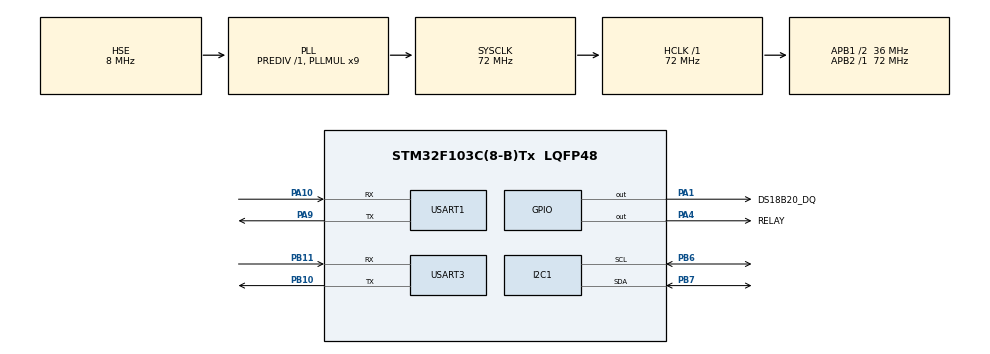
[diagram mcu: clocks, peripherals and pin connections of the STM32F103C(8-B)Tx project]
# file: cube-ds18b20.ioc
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I2C1.I2C_Mode=I2C_Fast
Mcu.Family=STM32F1
Mcu.Name=STM32F103C(8-B)Tx
Mcu.Package=LQFP48
NVIC.PriorityGroup=NVIC_PRIORITYGROUP_4
NVIC.USART3_IRQn=true\:0\:0\:false\:false\:true\:true\:true\:true
PA1.GPIO_Label=DS18B20_DQ
PA1.GPIO_PuPd=GPIO_PULLUP
PA1.Signal=GPIO_Output
PA10.Mode=Asynchronous
PA10.Signal=USART1_RX
PA4.GPIO_Label=RELAY
PA4.Signal=GPIO_Output
PA9.Mode=Asynchronous
PA9.Signal=USART1_TX
PB10.Mode=Asynchronous
PB10.Signal=USART3_TX
PB11.Mode=Asynchronous
PB11.Signal=USART3_RX
PB6.Mode=I2C
PB6.Signal=I2C1_SCL
PB7.Mode=I2C
PB7.Signal=I2C1_SDA
PD0-OSC_IN.Mode=HSE-External-Oscillator
PD0-OSC_IN.Signal=RCC_OSC_IN
PD1-OSC_OUT.Mode=HSE-External-Oscillator
PD1-OSC_OUT.Signal=RCC_OSC_OUT
ProjectManager.HeapSize=0x200
ProjectManager.StackSize=0x400
ProjectManager.TargetToolchain=MDK-ARM V5.32
RCC.AHBFreq_Value=72000000
RCC.APB1CLKDivider=RCC_HCLK_DIV2
RCC.APB1Freq_Value=36000000
RCC.APB1TimFreq_Value=72000000
RCC.APB2Freq_Value=72000000
RCC.APB2TimFreq_Value=72000000
RCC.HCLKFreq_Value=72000000
RCC.PLLMUL=RCC_PLL_MUL9
RCC.PLLSourceVirtual=RCC_PLLSOURCE_HSE
RCC.SYSCLKFreq_VALUE=72000000
RCC.SYSCLKSource=RCC_SYSCLKSOURCE_PLLCLK
RCC.USBFreq_Value=72000000
USART1.VirtualMode=VM_ASYNC
USART3.VirtualMode=VM_ASYNC
VP_SYS_VS_ND.Mode=No_Debug
board=custom

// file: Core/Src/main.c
/* USER CODE BEGIN Header */
/**
 ******************************************************************************
 * @file           : main.c
 * @brief          : Main program body
 ******************************************************************************
 * @attention
 *
 * Copyright (c) 2025 STMicroelectronics.
 * All rights reserved.
 *
 * This software is licensed under terms that can be found in the LICENSE file
 * in the root directory of this software component.
 * If no LICENSE file comes with this software, it is provided AS-IS.
 *
 ******************************************************************************
 */
/* USER CODE END Header */
#include "main.h"
#include "i2c.h"
#include "usart.h"
#include "gpio.h"

/* USER CODE BEGIN Includes */
#include <string.h>
#include <stdio.h>
#include "oled.h"

#define DS18B20_PORT GPIOA
#define DS18B20_PIN GPIO_PIN_1

#define RELAY_Pin GPIO_PIN_4
#define RELAY_GPIO_Port GPIOA
#define MAX_DS18B20_SENSORS 5
/* USER CODE END Includes */

/* USER CODE BEGIN PV */
// --- 新增：存储传感器ROM地址和数量 ---
uint8_t g_ds18b20_roms[MAX_DS18B20_SENSORS][8];
uint8_t g_num_sensors = 0;
// --- 新增：1-Wire搜索状态变量 ---
uint8_t LastDiscrepancy;
uint8_t LastFamilyDiscrepancy;
uint8_t LastDeviceFlag;
float temperatureArray[3]; // 用于存储温度值

// --- 新增：串口3接收和继电器定时控制相关变量 ---
#define UART3_RX_BUFFER_SIZE 50
uint8_t uart3_rx_buffer[UART3_RX_BUFFER_SIZE];
uint8_t uart3_rx_index = 0;
uint8_t uart3_rx_complete = 0;
uint8_t uart3_current_char; // 当前接收的字符
uint32_t relay_timer_count = 0;  // 继电器定时器计数
uint8_t relay_timer_active = 0;  // 继电器定时器是否激活
uint8_t relay_force_state = 0;   // 强制继电器状态（0=关闭，1=开启）
uint8_t relay_temp_control = 1;  // 温度控制是否启用（1=启用，0=禁用）

// --- 新增：温度阈值变量（可调） ---
float temp_threshold = 30.0f; // 默认温度阈值
#define TEMP_THRESHOLD_MIN  0.0f
#define TEMP_THRESHOLD_MAX  99.0f
#define TEMP_THRESHOLD_STEP 1.0f

// 按键防抖相关变量
uint8_t key_pa2_last = 1, key_pa3_last = 1;
uint32_t key_debounce_tick_pa2 = 0, key_debounce_tick_pa3 = 0;
#define KEY_DEBOUNCE_MS 30
/* USER CODE END PV */

void SystemClock_Config(void);

/* USER CODE BEGIN 0 */
/* USER CODE BEGIN 0 */

// 初始化继电器控制引脚
void RELAY_Init(void)
{
  HAL_GPIO_WritePin(RELAY_GPIO_Port, RELAY_Pin, GPIO_PIN_RESET);
}

// 控制继电器状态
void RELAY_Control(uint8_t state)
{
  HAL_GPIO_WritePin(RELAY_GPIO_Port, RELAY_Pin, state ? GPIO_PIN_SET : GPIO_PIN_RESET);
}

// 微秒级延时函数 (保持不变)
void Delay_us(uint16_t us)
{
  us *= 6;
  while (us--)
  {
    __NOP();
    __NOP();
    __NOP();
    __NOP();
    __NOP();
    __NOP();
    __NOP();
    __NOP();
  }
}

// 写1位数据 (保持不变)
void DS18B20_WriteBit(uint8_t bit)
{
  HAL_GPIO_WritePin(DS18B20_PORT, DS18B20_PIN, GPIO_PIN_RESET);
  Delay_us(1); // t_low1: 1-15us
  if (bit)
  {
    HAL_GPIO_WritePin(DS18B20_PORT, DS18B20_PIN, GPIO_PIN_SET); // 写1
  }
  else
  {
    // 保持低电平即可写0
  }
  Delay_us(60);                                               // t_slot: 60-120us
  HAL_GPIO_WritePin(DS18B20_PORT, DS18B20_PIN, GPIO_PIN_SET); // 释放总线
  Delay_us(1);                                                // t_rec: >1us
}

// 读1位数据 (保持不变)
uint8_t DS18B20_ReadBit(void)
{
  uint8_t bit = 0;
  HAL_GPIO_WritePin(DS18B20_PORT, DS18B20_PIN, GPIO_PIN_RESET);
  Delay_us(1);                                                // t_low0: 1-15us
  HAL_GPIO_WritePin(DS18B20_PORT, DS18B20_PIN, GPIO_PIN_SET); // 释放总线，由从机拉低或保持高电平
  Delay_us(10);                                               // t_rdv: <15us (在15us内采样)
  if (HAL_GPIO_ReadPin(DS18B20_PORT, DS18B20_PIN))
  {
    bit = 1;
  }
  Delay_us(50); // 等待时间片结束 (60-120us)
  return bit;
}

// 向DS18B20写入1字节 (保持不变)
void DS18B20_WriteByte(uint8_t data)
{
  for (uint8_t i = 0; i < 8; i++)
  {
    DS18B20_WriteBit(data & 0x01);
    data >>= 1;
  }
}

// 从DS18B20读取1字节 (保持不变)
uint8_t DS18B20_ReadByte(void)
{
  uint8_t data = 0;
  for (uint8_t i = 0; i < 8; i++)
  {
    data >>= 1;
    if (DS18B20_ReadBit())
    {
      data |= 0x80;
    }
  }
  return data;
}

// 复位DS18B20 (保持不变)
// 返回 0 表示成功检测到存在脉冲, 1 表示无设备响应
uint8_t DS18B20_Reset(void)
{
  uint8_t status;
  // 配置为推挽输出
  GPIO_InitTypeDef GPIO_InitStruct = {0};
  GPIO_InitStruct.Pin = DS18B20_PIN;
  GPIO_InitStruct.Mode = GPIO_MODE_OUTPUT_PP;
  GPIO_InitStruct.Pull = GPIO_NOPULL;
  GPIO_InitStruct.Speed = GPIO_SPEED_FREQ_HIGH;
  HAL_GPIO_Init(DS18B20_PORT, &GPIO_InitStruct);

  HAL_GPIO_WritePin(DS18B20_PORT, DS18B20_PIN, GPIO_PIN_RESET);
  Delay_us(480); // 至少480us
  HAL_GPIO_WritePin(DS18B20_PORT, DS18B20_PIN, GPIO_PIN_SET);

  // 配置为浮空输入
  GPIO_InitStruct.Mode = GPIO_MODE_INPUT;
  GPIO_InitStruct.Pull = GPIO_NOPULL; // 或 GPIO_PULLUP，取决于外部上拉
  HAL_GPIO_Init(DS18B20_PORT, &GPIO_InitStruct);

  Delay_us(60);                                         // 等待15-60us后采样
  status = HAL_GPIO_ReadPin(DS18B20_PORT, DS18B20_PIN); // 读取存在脉冲 (低电平有效)
  Delay_us(420);                                        // 等待存在脉冲结束 (总共480us)

  // 恢复为推挽输出，准备后续通信
  GPIO_InitStruct.Mode = GPIO_MODE_OUTPUT_PP;
  GPIO_InitStruct.Pull = GPIO_NOPULL;
  GPIO_InitStruct.Speed = GPIO_SPEED_FREQ_HIGH;
  HAL_GPIO_Init(DS18B20_PORT, &GPIO_InitStruct);
  HAL_GPIO_WritePin(DS18B20_PORT, DS18B20_PIN, GPIO_PIN_SET); // 释放总线

  return status; // 0=成功, 1=失败
}

// --- 新增：CRC8校验函数 ---
uint8_t crc8(const uint8_t *addr, uint8_t len)
{
  uint8_t crc = 0;
  while (len--)
  {
    uint8_t inbyte = *addr++;
    for (uint8_t i = 8; i; i--)
    {
      uint8_t mix = (crc ^ inbyte) & 0x01;
      crc >>= 1;
      if (mix)
        crc ^= 0x8C; // 校验多项式 X^8 + X^5 + X^4 + 1
      inbyte >>= 1;
    }
  }
  return crc;
}

// --- 新增：1-Wire ROM搜索核心函数 ---
// 返回值: 1 = 找到设备, 0 = 未找到/搜索完成
// rom_code: 用于存储找到的ROM地址
uint8_t DS18B20_Search(uint8_t *rom_code)
{
  uint8_t id_bit_number;
  uint8_t last_zero, rom_byte_number;
  uint8_t search_result;
  uint8_t id_bit, cmp_id_bit;
  uint8_t rom_byte_mask, search_direction;

  // 初始化搜索状态 (仅在首次搜索时)
  id_bit_number = 1;
  last_zero = 0;
  rom_byte_number = 0;
  rom_byte_mask = 1;
  search_result = 0;

  // 如果上一次搜索是最后一次，则重置状态开始新的搜索
  if (LastDeviceFlag)
  {
    LastDiscrepancy = 0;
    LastDeviceFlag = 0;
    LastFamilyDiscrepancy = 0;
    return 0; // 没有更多设备
  }

  // 1. 发送复位脉冲
  if (DS18B20_Reset() != 0)
  {
    // 总线无响应，重置搜索状态并返回错误
    LastDiscrepancy = 0;
    LastFamilyDiscrepancy = 0;
    LastDeviceFlag = 0;
    return 0;
  }

  // 2. 发送 ROM 搜索命令 (0xF0)
  DS18B20_WriteByte(0xF0);

  // 3. 循环搜索 ROM 的每一位 (64位)
  do
  {
    // 读取两位 (bit 和 complement bit)
    id_bit = DS18B20_ReadBit();
    cmp_id_bit = DS18B20_ReadBit();

    // 检查冲突
    if ((id_bit == 1) && (cmp_id_bit == 1))
    {
      // 没有设备响应此位，搜索失败
      break;
    }
    else
    {
      // 设备响应了
      if (id_bit != cmp_id_bit)
      {
        // 所有设备在这一位上值相同，直接选择该位
        search_direction = id_bit;
      }
      else
      {
        // 出现分歧 (Discrepancy)，即至少两个设备在这一位有不同值 (0和1)
        // 如果当前位 < 上次分歧位，选择上次确定的路径
        if (id_bit_number < LastDiscrepancy)
        {
          search_direction = ((rom_code[rom_byte_number] & rom_byte_mask) > 0);
        }
        else
        {
          // 如果等于上次分歧位，选择1路径
          // 如果大于上次分歧位，选择0路径 (优先探索0分支)
          search_direction = (id_bit_number == LastDiscrepancy);
        }

        // 如果选择0路径，记录下这个分歧点
        if (search_direction == 0)
        {
          last_zero = id_bit_number;
          // 如果是家族码内的分歧，也记录
          if (last_zero < 9)
            LastFamilyDiscrepancy = last_zero;
        }
      }

      // 存储选择的位到 ROM code 中
      if (search_direction == 1)
        rom_code[rom_byte_number] |= rom_byte_mask;
      else
        rom_code[rom_byte_number] &= ~rom_byte_mask;

      // 发送选择的位，让不匹配的设备进入休眠
      DS18B20_WriteBit(search_direction);

      // 移到下一位
      id_bit_number++;
      rom_byte_mask <<= 1;

      // 如果一个字节的8位都处理完了，移到下一个字节
      if (rom_byte_mask == 0)
      {
        rom_byte_number++;
        rom_byte_mask = 1;
      }
    }
  } while (rom_byte_number < 8); // 处理完8个字节 (64位)

  // 4. 检查搜索结果
  if (id_bit_number >= 65)
  { // 成功完成64位搜索
    // 更新下次搜索的分歧点
    LastDiscrepancy = last_zero;

    // 检查是否是最后一个设备
    if (LastDiscrepancy == 0)
    {
      LastDeviceFlag = 1; // 本次是最后一个设备
    }
    search_result = 1; // 成功找到一个设备
  }

  // 如果搜索失败或CRC校验失败，重置状态
  if (search_result == 0 || rom_code[0] == 0x00 || crc8(rom_code, 7) != rom_code[7])
  {
    LastDiscrepancy = 0;
    LastDeviceFlag = 0;
    LastFamilyDiscrepancy = 0;
    search_result = 0; // 标记为失败
  }

  return search_result;
}

// --- 新增：扫描总线上的所有DS18B20设备 ---
void DS18B20_ScanDevices(void)
{
  uint8_t id[8];
  g_num_sensors = 0; // 重置计数器

  // 重置搜索状态
  LastDiscrepancy = 0;
  LastDeviceFlag = 0;
  LastFamilyDiscrepancy = 0;

  // 循环搜索，直到找不到更多设备
  while (DS18B20_Search(id) && g_num_sensors < MAX_DS18B20_SENSORS)
  {
    // 检查是否是DS18B20家族码 (0x28)
    if (id[0] == 0x28)
    {
      // 检查CRC校验
      if (crc8(id, 7) == id[7])
      {
        memcpy(g_ds18b20_roms[g_num_sensors], id, 8);
        g_num_sensors++;
      }
    }
    // 如果需要支持其他家族码，可以在这里添加判断
  }
  // 可以在这里通过串口打印找到的传感器数量和ROM地址，用于调试
  char dbg_msg[100];
  sprintf(dbg_msg, "Found %d DS18B20 sensors.\r\n", g_num_sensors);
  HAL_UART_Transmit(&huart3, (uint8_t *)dbg_msg, strlen(dbg_msg), 100);
  for (int i = 0; i < g_num_sensors; i++)
  {
    sprintf(dbg_msg, "Sensor %d ROM: %02X%02X%02X%02X%02X%02X%02X%02X\r\n", i,
            g_ds18b20_roms[i][7], g_ds18b20_roms[i][6], g_ds18b20_roms[i][5], g_ds18b20_roms[i][4],
            g_ds18b20_roms[i][3], g_ds18b20_roms[i][2], g_ds18b20_roms[i][1], g_ds18b20_roms[i][0]);
    HAL_UART_Transmit(&huart3, (uint8_t *)dbg_msg, strlen(dbg_msg), 200);
    HAL_Delay(10); // 短暂延时避免串口发送过快
  }
}

// --- 新增：选择指定ROM地址的设备 ---
void DS18B20_Select(const uint8_t *rom_code)
{
  DS18B20_WriteByte(0x55); // Match ROM command
  for (uint8_t i = 0; i < 8; i++)
  {
    DS18B20_WriteByte(rom_code[i]);
  }
}

// --- 新增：向总线上所有设备发送命令 (使用 Skip ROM) ---
void DS18B20_SkipRom(void)
{
  DS18B20_WriteByte(0xCC); // Skip ROM command
}

// --- 修改：读取指定ROM地址的温度值 ---
// 返回值：读取到的温度，或特定错误值 (例如 -999.0)
float DS18B20_GetTemp(const uint8_t *rom_code)
{
  uint8_t tempL, tempH;
  uint16_t temp;
  float result = -999.0; // 默认错误值

  // 1. 复位并选择指定设备
  if (DS18B20_Reset() != 0)
    return result; // 复位失败
  DS18B20_Select(rom_code);

  // 2. 发送读取暂存器命令 (0xBE)
  DS18B20_WriteByte(0xBE);

  // 3. 读取暂存器内容 (前两个字节是温度)
  //    注意：实际应用中应读取全部9个字节并校验CRC
  tempL = DS18B20_ReadByte();
  tempH = DS18B20_ReadByte();
  // 读取剩余字节（可选，用于CRC校验）
  // uint8_t scratchpad[9];
  // scratchpad[0] = tempL;
  // scratchpad[1] = tempH;
  // for(int i=2; i<9; i++) {
  //     scratchpad[i] = DS18B20_ReadByte();
  // }
  // if (crc8(scratchpad, 8) != scratchpad[8]) {
  //     // CRC校验失败
  //     return -998.0; // 返回不同的错误码
  // }

  // 4. 计算温度
  temp = (tempH << 8) | tempL;

  // 处理负温度 (符号扩展)
  if (temp & 0x8000)
  {
    temp = ~temp + 1; // 取反加一
    result = -(float)temp / 16.0;
  }
  else
  {
    result = (float)temp / 16.0;
  }

  // 检查温度是否在合理范围 (DS18B20范围 -55 到 +125)
  // 85度是上电默认值，可能表示读取错误
  if (result == 85.0 || result < -55.0 || result > 125.0)
  {
    // 可能读取错误，可以返回特定错误值或上次有效值
    // return -997.0;
  }

  return result;
}

// 启动所有连接设备的温度转换 ---
uint8_t DS18B20_StartConversionAll(void)
{
  if (DS18B20_Reset() != 0)
    return 1;              // 复位失败
  DS18B20_SkipRom();       // 使用 Skip ROM 命令
  DS18B20_WriteByte(0x44); // 启动温度转换命令
  return 0;                // 成功启动
}

// --- 新增：串口3接收中断回调函数 ---
void HAL_UART_RxCpltCallback(UART_HandleTypeDef *huart)
{
  if (huart->Instance == USART3)
  {
    // 检查是否接收到换行符或回车符
    if (uart3_current_char == '\n' || uart3_current_char == '\r')
    {
      uart3_rx_buffer[uart3_rx_index] = '\0'; // 添加字符串结束符
      uart3_rx_complete = 1; // 标记接收完成
      uart3_rx_index = 0;    // 重置索引
    }
    else if (uart3_rx_index >= UART3_RX_BUFFER_SIZE - 2) // 留一个位置给\0
    {
      uart3_rx_buffer[uart3_rx_index] = '\0'; // 添加字符串结束符
      uart3_rx_complete = 1; // 标记接收完成
      uart3_rx_index = 0;    // 重置索引
    }
    else
    {
      // 存储接收到的字符
      uart3_rx_buffer[uart3_rx_index] = uart3_current_char;
      uart3_rx_index++; // 移动到下一个位置
    }

    // 重新启动接收中断，继续接收下一个字符
    HAL_UART_Receive_IT(&huart3, &uart3_current_char, 1);
  }
}

// --- 新增：解析串口命令 ---
void Parse_UART3_Command(void)
{
  if (!uart3_rx_complete) return;

  char *command = (char *)uart3_rx_buffer;
  char response[100];

  // 添加详细调试信息 - 显示缓冲区内容
  sprintf(response, "RX Complete! Buffer: [");
  HAL_UART_Transmit(&huart3, (uint8_t *)response, strlen(response), 200);

  for (int i = 0; i < uart3_rx_index; i++) {
    sprintf(response, "%02X ", uart3_rx_buffer[i]);
    HAL_UART_Transmit(&huart3, (uint8_t *)response, strlen(response), 200);
  }

  sprintf(response, "] String: [%s] (len=%d, index=%d)\r\n", command, strlen(command), uart3_rx_index);
  HAL_UART_Transmit(&huart3, (uint8_t *)response, strlen(response), 200);

  // 解析 "on" 命令
  if (strncmp(command, "on", 2) == 0)
  {
    uint32_t duration = atoi(command + 2); // 提取数字部分
    sprintf(response, "Parsed duration: %lu\r\n", duration);
    HAL_UART_Transmit(&huart3, (uint8_t *)response, strlen(response), 200);

    if (duration > 0 && duration <= 9999) // 限制最大时间
    {
      relay_timer_count = duration;
      relay_timer_active = 1;
      relay_force_state = 1;
      relay_temp_control = 0; // 禁用温度控制
      RELAY_Control(1);       // 立即打开继电器

      sprintf(response, "Relay ON for %lu seconds\r\n", duration);
      HAL_UART_Transmit(&huart3, (uint8_t *)response, strlen(response), 200);
    }
    else
    {
      sprintf(response, "Invalid duration: %s (parsed: %lu)\r\n", command, duration);
      HAL_UART_Transmit(&huart3, (uint8_t *)response, strlen(response), 200);
    }
  }
  // 解析 "off" 命令
  else if (strncmp(command, "off", 3) == 0)
  {
    uint32_t duration = atoi(command + 3); // 提取数字部分
    if (duration > 0 && duration <= 9999) // 限制最大时间
    {
      relay_timer_count = duration;
      relay_timer_active = 1;
      relay_force_state = 0;
      relay_temp_control = 0; // 禁用温度控制
      RELAY_Control(0);       // 立即关闭继电器

      sprintf(response, "Relay OFF for %lu seconds\r\n", duration);
      HAL_UART_Transmit(&huart3, (uint8_t *)response, strlen(response), 200);
    }
    else
    {
      sprintf(response, "Invalid duration: %s\r\n", command);
      HAL_UART_Transmit(&huart3, (uint8_t *)response, strlen(response), 200);
    }
  }
  // 解析 "auto" 命令 - 恢复温度控制
  else if (strncmp(command, "auto", 4) == 0)
  {
    relay_timer_active = 0;
    relay_temp_control = 1; // 重新启用温度控制
    sprintf(response, "Auto temperature control enabled\r\n");
    HAL_UART_Transmit(&huart3, (uint8_t *)response, strlen(response), 200);
  }
  else
  {
    sprintf(response, "Unknown command: %s\r\n", command);
    HAL_UART_Transmit(&huart3, (uint8_t *)response, strlen(response), 200);
  }

  uart3_rx_complete = 0; // 重置完成标志
}

// --- 新增：更新继电器定时器 ---
void Update_Relay_Timer(void)
{
  if (relay_timer_active && relay_timer_count > 0)
  {
    relay_timer_count--;

    // 定时器到期
    if (relay_timer_count == 0)
    {
      relay_timer_active = 0;
      relay_temp_control = 1; // 重新启用温度控制

      char response[50];
      sprintf(response, "Timer expired, auto control enabled\r\n");
      HAL_UART_Transmit(&huart3, (uint8_t *)response, strlen(response), 200);
    }
  }
}

/* USER CODE END 0 */

int main(void)
{

  /* USER CODE BEGIN 1 */
  char msg[100]; // 增加缓冲区大小以容纳ROM地址
  char msg2[100]; // lora发送信息
  char relay_msg[50]; // 继电器控制信息
  float temperature;
  /* USER CODE END 1 */

  /* MCU Configuration--------------------------------------------------------*/

  /* Reset of all peripherals, Initializes the Flash interface and the Systick. */
  HAL_Init();

  /* Configure the system clock */
  SystemClock_Config();

  /* Initialize all configured peripherals */
  MX_GPIO_Init();
  MX_USART1_UART_Init();
  MX_USART3_UART_Init();
  MX_I2C1_Init();
  /* USER CODE BEGIN 2 */  RELAY_Init();
  OLED_Init();  // 初始化OLED

  // --- 新增：初始化PA2/PA3为输入上拉 ---
  GPIO_InitTypeDef GPIO_InitStruct = {0};
  GPIO_InitStruct.Pin = GPIO_PIN_2|GPIO_PIN_3;
  GPIO_InitStruct.Mode = GPIO_MODE_INPUT;
  GPIO_InitStruct.Pull = GPIO_PULLUP;
  HAL_GPIO_Init(GPIOA, &GPIO_InitStruct);

  HAL_Delay(100); // 等待总线稳定

  // 启动串口3接收中断
  HAL_UART_Receive_IT(&huart3, &uart3_current_char, 1);

  // 在OLED上显示欢迎信息
  OLED_ShowString(0, 0, "DS18B20 Temperature", 8);
  OLED_ShowString(0, 16, "System Initializing", 8);
  OLED_Refresh();
    HAL_Delay(1000); // 显示欢迎信息一段时间
  HAL_UART_Transmit(&huart1, (uint8_t *)"DS18B20 Multi-Sensor Test\r\n", strlen("DS18B20 Multi-Sensor Test\r\n"), 100);

  // --- 修改：扫描设备 ---
  DS18B20_ScanDevices();

    // 在OLED上显示传感器信息
  OLED_DisplaySensorInfo(g_num_sensors);
  HAL_Delay(2000);
  OLED_Clear(); // 清屏

  if (g_num_sensors == 0)
  {
    HAL_UART_Transmit(&huart1, (uint8_t *)"No DS18B20 sensors found!\r\n", strlen("No DS18B20 sensors found!\r\n"), 100);
    while (1)
      ; // 没有传感器则停止
  }
  // char msg[50];
  // float temperature;
  /* USER CODE END 2 */

  /* Infinite loop */
  /* USER CODE BEGIN WHILE */
  uint32_t last_task_tick = 0;
  while (1)
  {
    /* USER CODE END WHILE */

    /* USER CODE BEGIN 3 */
    // 处理串口3接收到的命令
    Parse_UART3_Command();

    // 更新继电器定时器（每秒调用一次）
    static uint32_t last_timer_update = 0;
    if (HAL_GetTick() - last_timer_update >= 1000) // 每1000ms更新一次
    {
      Update_Relay_Timer();
      last_timer_update = HAL_GetTick();
    }

    // --- 非阻塞定时任务：每2秒采集温度和控制继电器 ---
    if (HAL_GetTick() - last_task_tick >= 2000) {
      last_task_tick = HAL_GetTick();
      // 1. 启动所有传感器的温度转换
      if (DS18B20_StartConversionAll() == 0)
      {
        HAL_Delay(750); // 等待转换完成（可进一步优化为非阻塞）
        // 3. 依次读取每个传感器的温度
        for (uint8_t i = 0; i < g_num_sensors; i++)
        {
          float temperature = DS18B20_GetTemp(g_ds18b20_roms[i]);
          temperatureArray[i] = temperature;
        }
        // 检查温度并控制继电器（仅在温度控制启用时）
        uint8_t relay_status = 0;
        if (relay_temp_control)
        {
          for (uint8_t i = 0; i < g_num_sensors; i++)
          {
              if(temperatureArray[i] > temp_threshold)
              {
                RELAY_Control(1); // 温度超过阈值，打开继电器
                sprintf(relay_msg, "ON");
                relay_status = 1;
                break;
              }
          }
          if (!relay_status) {
            RELAY_Control(0); // 温度均低于阈值，关闭继电器
            sprintf(relay_msg, "OFF");
          }
        }
        else
        {
          relay_status = relay_force_state;
          sprintf(relay_msg, relay_status ? "ON" : "OFF");
        }
        // OLED显示温度和继电器状态，显示当前阈值
        OLED_DisplayTemperature(
            temperatureArray[0],
            (g_num_sensors > 1) ? temperatureArray[1] : -999.0,
            (g_num_sensors > 2) ? temperatureArray[2] : -999.0,
            relay_status,
            temp_threshold
        );
        // 格式化并发送到Lora
        strcpy(msg2, "");
        for (uint8_t i = 0; i < 3; i++)
        {
            char temp_msg[50];
            sprintf(temp_msg, "%.2f;", temperatureArray[i]);
            strcat(msg2, temp_msg);
        }
        strcat(msg2, relay_msg); // 继电器状态
        strcat(msg2, ";\r\n");
        HAL_UART_Transmit(&huart3, (uint8_t *)msg2, strlen(msg2), 200); // 发送到Lora
      }
      else
      {
        sprintf(msg, "Failed to start conversion.\r\n");
        HAL_UART_Transmit(&huart1, (uint8_t *)msg, strlen(msg), 100);
      }
    }

    // --- 按键扫描与阈值调节（实时） ---
    uint8_t key_pa2 = HAL_GPIO_ReadPin(GPIOA, GPIO_PIN_2);
    uint8_t key_pa3 = HAL_GPIO_ReadPin(GPIOA, GPIO_PIN_3);
    uint32_t now = HAL_GetTick();
    // PA2: 阈值减1
    if (key_pa2 == 0 && key_pa2_last == 1 && (now - key_debounce_tick_pa2 > KEY_DEBOUNCE_MS)) {
      key_debounce_tick_pa2 = now;
      if (temp_threshold > TEMP_THRESHOLD_MIN) {
        temp_threshold -= TEMP_THRESHOLD_STEP;
        if (temp_threshold < TEMP_THRESHOLD_MIN) temp_threshold = TEMP_THRESHOLD_MIN;
        // 不再单独刷新OLED，统一在主定时任务里刷新
        // OLED_ShowString(0, 48, "Threshold-", 8);
        // OLED_ShowNum(80, 48, (int)temp_threshold, 2, 8);
        // OLED_Refresh();
        HAL_Delay(200); // 简单消抖
      }
    }
    key_pa2_last = key_pa2;
    // PA3: 阈值加1
    if (key_pa3 == 0 && key_pa3_last == 1 && (now - key_debounce_tick_pa3 > KEY_DEBOUNCE_MS)) {
      key_debounce_tick_pa3 = now;
      if (temp_threshold < TEMP_THRESHOLD_MAX) {
        temp_threshold += TEMP_THRESHOLD_STEP;
        if (temp_threshold > TEMP_THRESHOLD_MAX) temp_threshold = TEMP_THRESHOLD_MAX;
        // 不再单独刷新OLED，统一在主定时任务里刷新
        // OLED_ShowString(0, 48, "Threshold+", 8);
        // OLED_ShowNum(80, 48, (int)temp_threshold, 2, 8);
        // OLED_Refresh();
        HAL_Delay(200); // 简单消抖
      }
    }
    key_pa3_last = key_pa3;

    // 检查温度并控制继电器（仅在温度控制启用时）
    uint8_t relay_status = 0;
    if (relay_temp_control)
    {
      for (uint8_t i = 0; i < g_num_sensors; i++)
      {
          if(temperatureArray[i] > temp_threshold)
          {
            RELAY_Control(1); // 温度超过阈值，打开继电器
            sprintf(relay_msg, "ON");
            relay_status = 1;
            break;
          }
      }
      if (!relay_status) {
        RELAY_Control(0); // 温度均低于阈值，关闭继电器
        sprintf(relay_msg, "OFF");
      }
    }
    else
    {
      // 使用强制状态
      relay_status = relay_force_state;
      sprintf(relay_msg, relay_status ? "ON" : "OFF");
    }
    // OLED显示温度和继电器状态，显示当前阈值
    OLED_DisplayTemperature(
        temperatureArray[0],
        (g_num_sensors > 1) ? temperatureArray[1] : -999.0,
        (g_num_sensors > 2) ? temperatureArray[2] : -999.0,
        relay_status,
        temp_threshold
    );
    // 格式化并发送到Lora
    strcpy(msg2, "");
    for (uint8_t i = 0; i < 3; i++)
    {
        char temp_msg[50];
        sprintf(temp_msg, "%.2f;", temperatureArray[i]);
        strcat(msg2, temp_msg);
    }
    strcat(msg2, relay_msg); // 继电器状态
    strcat(msg2, ";\r\n");
    HAL_UART_Transmit(&huart3, (uint8_t *)msg2, strlen(msg2), 200); // 发送到Lora
//    }
//    else
//    {
//      sprintf(msg, "Failed to start conversion.\r\n");
//      HAL_UART_Transmit(&huart1, (uint8_t *)msg, strlen(msg), 100);
//    }
  }
  /* USER CODE END 3 */
}

void SystemClock_Config(void)
{
  RCC_OscInitTypeDef RCC_OscInitStruct = {0};
  RCC_ClkInitTypeDef RCC_ClkInitStruct = {0};

  /** Initializes the RCC Oscillators according to the specified parameters
  * in the RCC_OscInitTypeDef structure.
  */
  RCC_OscInitStruct.OscillatorType = RCC_OSCILLATORTYPE_HSE;
  RCC_OscInitStruct.HSEState = RCC_HSE_ON;
  RCC_OscInitStruct.HSEPredivValue = RCC_HSE_PREDIV_DIV1;
  RCC_OscInitStruct.HSIState = RCC_HSI_ON;
  RCC_OscInitStruct.PLL.PLLState = RCC_PLL_ON;
  RCC_OscInitStruct.PLL.PLLSource = RCC_PLLSOURCE_HSE;
  RCC_OscInitStruct.PLL.PLLMUL = RCC_PLL_MUL9;
  if (HAL_RCC_OscConfig(&RCC_OscInitStruct) != HAL_OK)
  {
    Error_Handler();
  }

  /** Initializes the CPU, AHB and APB buses clocks
  */
  RCC_ClkInitStruct.ClockType = RCC_CLOCKTYPE_HCLK|RCC_CLOCKTYPE_SYSCLK
                              |RCC_CLOCKTYPE_PCLK1|RCC_CLOCKTYPE_PCLK2;
  RCC_ClkInitStruct.SYSCLKSource = RCC_SYSCLKSOURCE_PLLCLK;
  RCC_ClkInitStruct.AHBCLKDivider = RCC_SYSCLK_DIV1;
  RCC_ClkInitStruct.APB1CLKDivider = RCC_HCLK_DIV2;
  RCC_ClkInitStruct.APB2CLKDivider = RCC_HCLK_DIV1;

  if (HAL_RCC_ClockConfig(&RCC_ClkInitStruct, FLASH_LATENCY_2) != HAL_OK)
  {
    Error_Handler();
  }
}

void Error_Handler(void)
{
  __disable_irq();
  while (1)
  {
  }
}
